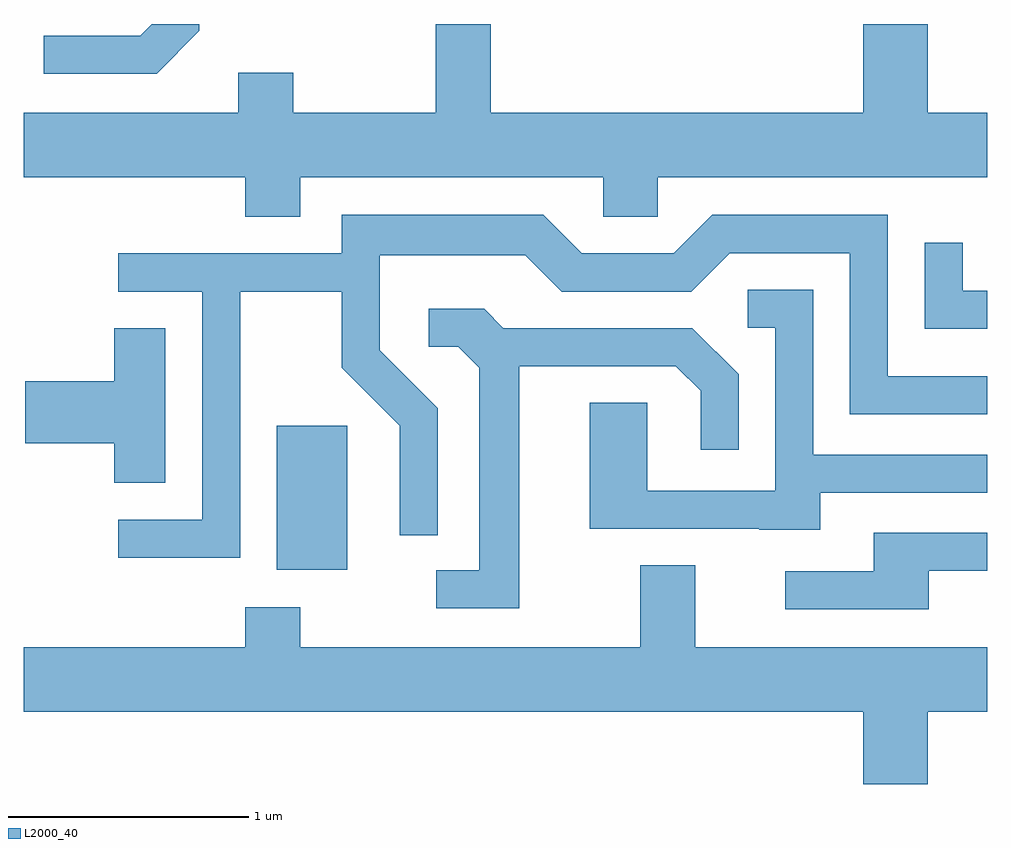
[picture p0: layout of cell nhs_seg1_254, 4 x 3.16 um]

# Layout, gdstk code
import gdstk
lib = gdstk.Library(unit=1e-6, precision=1e-09)
def R(c, l, rs):  # rectangles x0, y0, x1, y1
    for r in rs: c.add(gdstk.rectangle(r[:2], r[2:], *l))
def P(c, l, *ps):  # polygons
    for p in ps: c.add(gdstk.Polygon(p, *l))
L2000_40 = (2000, 40)

nhs_seg1_254 = lib.new_cell('nhs_seg1_254')
R(nhs_seg1_254, L2000_40, [(192.661,953.446,192.954,954.044)])
P(nhs_seg1_254, L2000_40, [(192.759,955.076),(194.016,955.076),(194.016,954.911),(194.244,954.911),(194.244,955.076),(195.611,955.076),(195.611,955.344),(195.364,955.344),(195.364,955.712),(195.096,955.712),(195.096,955.344),(193.549,955.344),(193.549,955.712),(193.321,955.712),(193.321,955.344),(192.729,955.344),(192.729,955.509),(192.501,955.509),(192.501,955.344),(191.611,955.344),(191.611,955.076),(192.531,955.076),(192.531,954.911),(192.759,954.911)],
  [(192.339,955.684),(192.339,955.712),(192.141,955.712),(192.094,955.664),(191.693,955.664),(191.693,955.506),(192.162,955.506)],
  [(192.509,954.601),(192.931,954.601),(192.931,954.284),(193.171,954.044),(193.171,953.588),(193.329,953.588),(193.329,954.117),(193.089,954.357),(193.089,954.751),(193.694,954.751),(193.844,954.601),(194.382,954.601),(194.542,954.761),(195.041,954.761),(195.041,954.091),(195.611,954.091),(195.611,954.249),(195.199,954.249),(195.199,954.919),(194.469,954.919),(194.309,954.759),(193.927,954.759),(193.767,954.919),(192.931,954.919),(192.931,954.759),(192.003,954.759),(192.003,954.601),(192.351,954.601),(192.351,953.654),(192.003,953.654),(192.003,953.496),(192.509,953.496)],
  [(195.611,954.604),(195.509,954.604),(195.509,954.803),(195.351,954.803),(195.351,954.446),(195.611,954.446)],
  [(194.919,953.766),(195.611,953.766),(195.611,953.924),(194.889,953.924),(194.889,954.609),(194.618,954.609),(194.618,954.451),(194.731,954.451),(194.731,953.774),(194.199,953.774),(194.199,954.139),(193.961,954.139),(193.961,953.616),(194.665,953.616),(194.665,953.611),(194.919,953.611)],
  [(193.669,954.291),(194.319,954.291),(194.421,954.189),(194.421,953.943),(194.579,953.943),(194.579,954.257),(194.387,954.449),(193.602,954.449),(193.522,954.529),(193.293,954.529),(193.293,954.371),(193.414,954.371),(193.501,954.284),(193.501,953.444),(193.323,953.444),(193.323,953.286),(193.669,953.286)],
  [(192.199,954.449),(191.986,954.449),(191.986,954.229),(191.616,954.229),(191.616,953.971),(191.986,953.971),(191.986,953.806),(192.199,953.806)],
  [(195.369,953.441),(195.611,953.441),(195.611,953.599),(195.141,953.599),(195.141,953.439),(194.773,953.439),(194.773,953.281),(195.369,953.281)],
  [(195.364,952.856),(195.611,952.856),(195.611,953.124),(194.399,953.124),(194.399,953.464),(194.171,953.464),(194.171,953.124),(192.759,953.124),(192.759,953.289),(192.531,953.289),(192.531,953.124),(191.611,953.124),(191.611,952.856),(195.096,952.856),(195.096,952.556),(195.364,952.556)])

lib.write_gds('nhs_seg1_254.gds')
